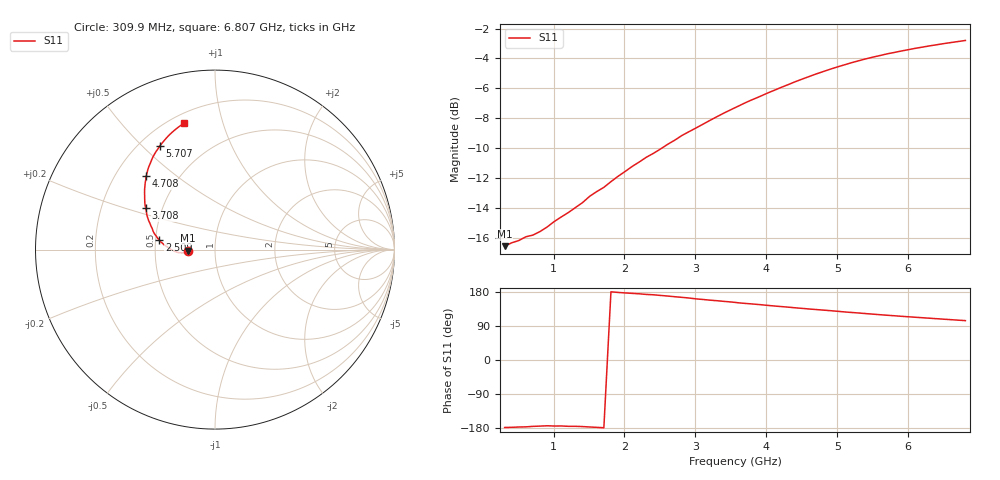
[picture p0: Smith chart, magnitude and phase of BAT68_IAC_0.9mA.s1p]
! Infineon Technologies  Discrete & RF Semiconductors
! BAT68
! IAC = 0.9 mA
! One-Port S-Parameters
# Hz  S  MA  R  50
!f  S11
!Hz  Mag  Ang
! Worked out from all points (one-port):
!   66 points, 309.9 MHz to 6.807 GHz, reference 50 ohm
!   lowest |S11| = -16.5 dB at 309.9 MHz (marker M1), VSWR 1.35, Z = 37 - j0.383 ohm
!   |S11| at or under -10 dB: start of sweep to 2.524 GHz
!   S11 on the Smith chart (normalised r, x): 309.9 MHz: 0.74, -0.01; 2.509 GHz: 0.52, +0.06; 3.708 GHz: 0.40, +0.23; 4.708 GHz: 0.33, +0.39; 5.707 GHz: 0.28, +0.57; 6.807 GHz: 0.25, +0.75
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3.0985e8  0.1489 -178.1
8.096e8  0.1666 -174.4
9.0955e8  0.1725 -173.6
1.0095e9  0.1799 -174.2
1.2094e9  0.1929 -175.0
1.4093e9  0.2082 -175.7
1.50925e9  0.2185 -176.8
1.6092e9  0.2266 -177.7
1.70915e9  0.234 -178.8
2.009e9  0.2645 177.0
2.30885e9  0.2951 173.0
2.4088e9  0.3041 172.1
2.50875e9  0.3145 170.3
2.8086e9  0.3487 165.3
3.30835e9  0.4037 156.3
3.50825e9  0.4263 153.0
3.6082e9  0.4376 150.9
3.70815e9  0.4492 149.2
4.008e9  0.4824 144.3
4.4078e9  0.5275 137.7
4.70765e9  0.5606 133.1
4.90755e9  0.5816 130.1
5.2074e9  0.6112 125.3
5.4073e9  0.6294 122.4
5.70715e9  0.654 118.1
6.007e9  0.6754 114.0
6.30685e9  0.6955 110.2
6.8066e9  0.7247 103.9
